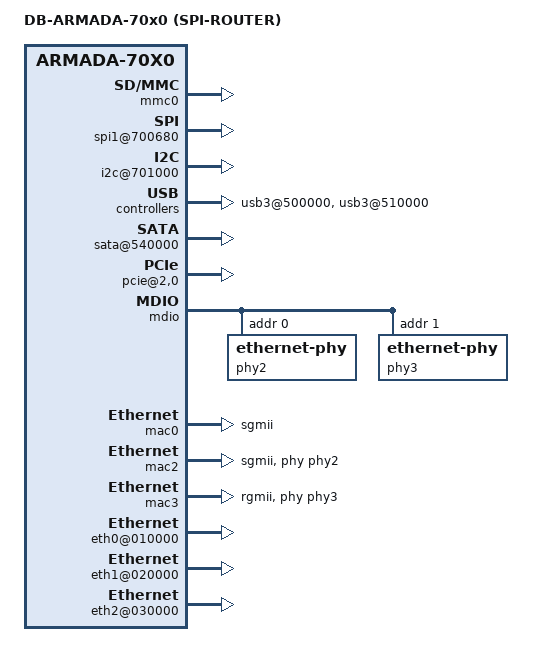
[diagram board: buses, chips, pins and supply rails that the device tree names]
/*
 * ***************************************************************************
 * Copyright (C) 2015 Marvell International Ltd.
 * ***************************************************************************
 * This program is free software: you can redistribute it and/or modify it
 * under the terms of the GNU General Public License as published by the Free
 * Software Foundation, either version 2 of the License, or any later version.
 *
 * This program is distributed in the hope that it will be useful,
 * but WITHOUT ANY WARRANTY; without even the implied warranty of
 * MERCHANTABILITY or FITNESS FOR A PARTICULAR PURPOSE.  See the
 * GNU General Public License for more details.
 *
 * You should have received a copy of the GNU General Public License
 * along with this program.  If not, see <http://www.gnu.org/licenses/>.
 * ***************************************************************************
 */

/dts-v1/;

#include "armada-70x0.dtsi" /* include SoC device tree */
#include "armada-70x0-dev-info.dtsi" /* include Marvell specific info (S@R, MPP cmd) */

/ {
	model = "DB-ARMADA-70x0 (SPI-ROUTER)";
	compatible = "marvell,armada-70x0-db", "marvell,armada-70x0";
	fdt_config_id = <1>;
	board_id = <0x12>;

	ap-806 {
		internal-regs {
			spi0: spi@510600 {
				status = "disabled";
			};
			i2c0: i2c@511000 {
				status = "disabled";
			};
			pinctl: pinctl@6F4000 {
					/* MPP Bus:
						SDIO  [0-10]
						UART0 [11,19]
					*/
					  /* 0 1 2 3 4 5 6 7 8 9 */
				pin-func = < 1 1 1 1 1 1 1 1 1 1
					     1 3 0 0 0 0 0 0 0 3>;
			};
			mmc0: mmc@6E0000 {
				status = "okay";
			};
		};
	};
	cp110-master {
		internal-regs {
			spi0@700600 {
				status = "disabled";
			};
			spi1@700680 {
				status = "okay";
			};
			i2c@701000 {
				status = "okay";
			};
			i2c@211000 { /* MSS_i2c0 */
				status = "disabled";
			};
			i2c@211100 { /* MSS_i2c1 */
				status = "disabled";
			};
			usb3@500000 {
				status = "okay";
			};
			usb3@510000 {
				status = "okay";
			};
			sata@540000 {
				status = "okay";
			};
			mmc@780000 {
				status = "disabled";
			};
			pcie-controller {
				pcie@0,0 {
					status = "disabled";
				};
				pcie@1,0 {
					status = "disabled";
				};
				pcie@2,0 {
					status = "okay";
				};
			};
			nand@720000 {
				status = "disabled";
			};

			pinctl@440000 {
					/* MPP Bus:
					   TDM	 [0-12]
					   SPI   [13-16]
					   SATA1 [28]
					   UART0 [29-30]
					   SMI	 [32,34]
					   XSMI  [35-36]
					   I2C	 [37-38]
					   UART1 [40-41]
					   RGMII1[44-55]
					   SD	 [56-62]
					*/
					/*   0   1   2   3   4   5   6   7   8   9 */
				pin-func = < 4   4   4   4   4   4   4   4   4   4
					     4   4   0   3   3   3   3   0   0   0
					     0   0   0   0   0   0   0   0   9   0xA
					     0xA 0   7   0   7   7   7   2   2   0
					     0   0   0   0   1   1   1   1   1   1
					     1   1   1   1   1   1   0xE 0xE 0xE 0xE
					     0xE 0xE 0xE>;
			};

			comphy {
				phy0 {
					phy-type = <PHY_TYPE_SGMII2>;
					phy-speed = <PHY_SPEED_3_125G>;
				};
				phy1 {
					phy-type = <PHY_TYPE_USB3_HOST0>;
				};
				phy2 {
					phy-type = <PHY_TYPE_SGMII0>;
					phy-speed = <PHY_SPEED_1_25G>;
				};
				phy3 {
					phy-type = <PHY_TYPE_SATA1>;
				};
				phy4 {
					phy-type = <PHY_TYPE_USB3_HOST1>;
				};
				phy5 {
					phy-type = <PHY_TYPE_PEX2>;
				};
			};
			mdio {
				#address-cells = <1>;
				#size-cells = <0>;
				phy2: ethernet-phy@2 {
					reg = <0>;
				};
				phy3: ethernet-phy@3 {
					reg = <1>;
				};
			};
			gop {
				mac0 {
					phy-mode = "sgmii"; /* lane-2 */
					status = "okay";
				};
				mac2 {
					phy-mode = "sgmii"; /* lane-0 */
					phy = <&phy2>;
					phy-speed = <2500>;
					status = "okay";
				};
				mac3 {
					phy-mode = "rgmii"; /* rgmii-1 */
					phy = <&phy3>;
					status = "okay";
				};
			};
			ppv22@000000 {
				eth0@010000 {
					status = "okay";
				};
				eth1@020000 {
					status = "okay";
				};
				eth2@030000 {
					status = "okay";
				};
			};
		};
	};
};
